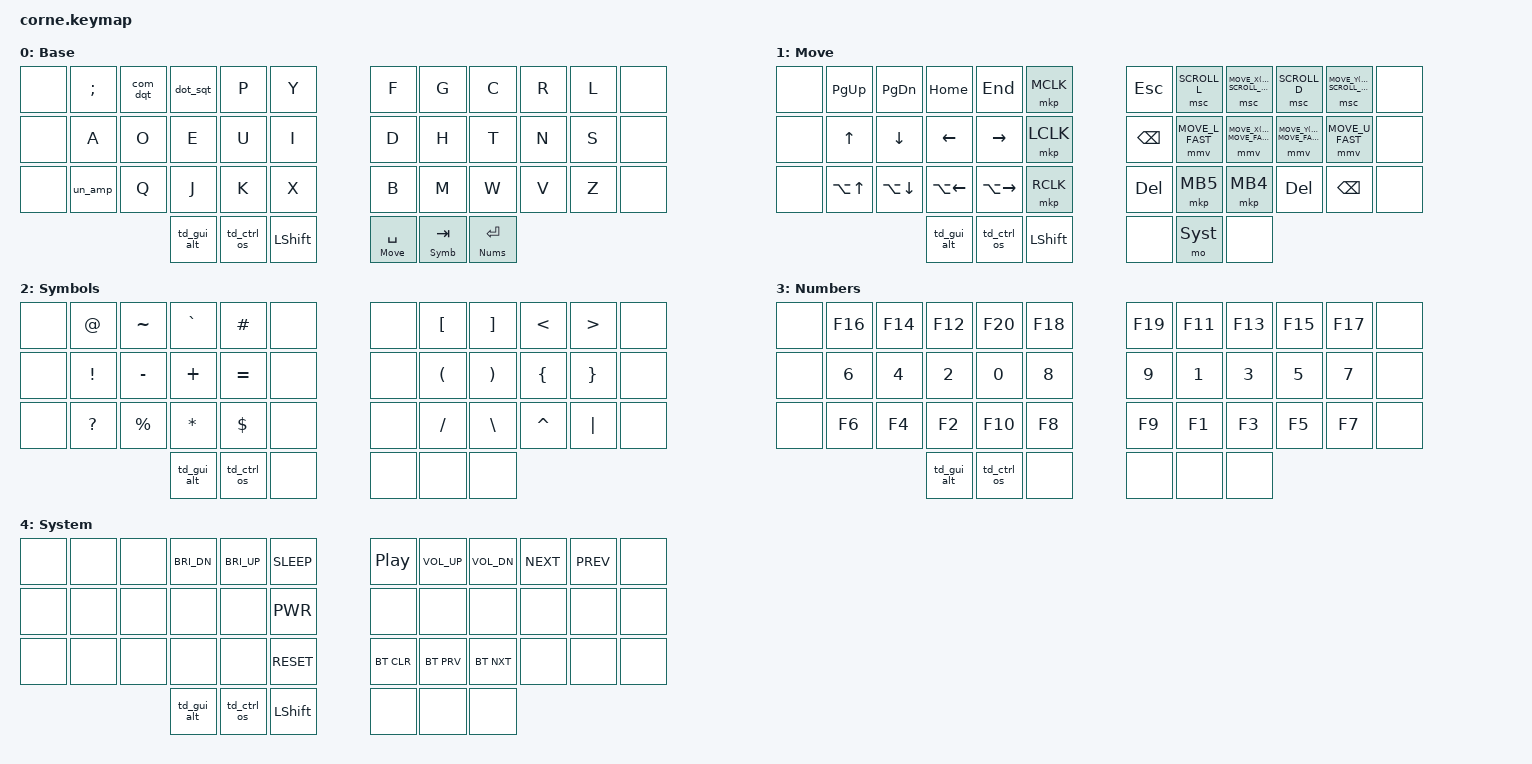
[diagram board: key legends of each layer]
/*
 * Copyright (c) 2020 The ZMK Contributors
 *
 * SPDX-License-Identifier: MIT
 */

#include <behaviors.dtsi>
#include <dt-bindings/zmk/keys.h>
#include <dt-bindings/zmk/bt.h>
#include <dt-bindings/zmk/mouse.h>

#define U_MOUSE_MOVE_FAST_MAX 1000

#define MOVE_U_FAST MOVE_Y(-U_MOUSE_MOVE_FAST_MAX)
#define MOVE_D_FAST MOVE_Y(U_MOUSE_MOVE_FAST_MAX)
#define MOVE_L_FAST MOVE_X(-U_MOUSE_MOVE_FAST_MAX)
#define MOVE_R_FAST MOVE_X(U_MOUSE_MOVE_FAST_MAX)

#define U_MOUSE_MOVE_SLOW_MAX 250

#define MOVE_U_SLOW MOVE_Y(-U_MOUSE_MOVE_SLOW_MAX)
#define MOVE_D_SLOW MOVE_Y(U_MOUSE_MOVE_SLOW_MAX)
#define MOVE_L_SLOW MOVE_X(-U_MOUSE_MOVE_SLOW_MAX)
#define MOVE_R_SLOW MOVE_X(U_MOUSE_MOVE_SLOW_MAX)

#define U_MOUSE_SCROLL_FAST 20

#define SCROLL_U MOVE_Y(U_MOUSE_SCROLL_FAST)
#define SCROLL_D MOVE_Y(-U_MOUSE_SCROLL_FAST)
#define SCROLL_L MOVE_X(-U_MOUSE_SCROLL_FAST)
#define SCROLL_R MOVE_X(U_MOUSE_SCROLL_FAST)

#define Base 0
#define Move 1
#define Symb 2
#define Nums 3
#define Syst 4

// | 1  | 2  | 3  | 4  | 5  |     | 6  | 7  | 8  | 9  | 10 |
// | 13 | 14 | 15 | 16 | 17 |     | 18 | 19 | 20 | 21 | 22 |
// | 25 | 26 | 27 | 28 | 29 |     | 30 | 31 | 32 | 33 | 34 |
//           | 36 | 37 | 38 |     | 39 | 40 | 41 |

// ----------------       ----------------
// |  |  |  |  |  |       |  |  |  |  |  |
// |  |  |  |  |  |       |  |  |  |  |  |
// |  |  |  |  |  |       |  |  |  |  |  |
// ------|  |  |  |       |  |  |  |------
//       ----------       ----------
// &none &none &none &none &none &none       &none &none &none &none &none &none
// &none &none &none &none &none &none       &none &none &none &none &none &none
// &none &none &none &none &none &none       &none &none &none &none &none &none
//                   &none &none &none       &none &none &none

/ {
    behaviors {
        un_amp: underscore_ampersand {
            compatible = "zmk,behavior-mod-morph";
            label = "UNDERSCORE_AMPERSAND";
            #binding-cells = <0>;
            bindings = <&kp UNDER>, <&kp AMPS>;
            mods = <(MOD_LSFT)>;
        };

        dot_sqt: dot_single_quote {
            compatible = "zmk,behavior-mod-morph";
            label = "DOT_SINGLE_QUOTE";
            #binding-cells = <0>;
            bindings = <&kp DOT>, <&kp SQT>;
            mods = <(MOD_LSFT)>;
        };

        com_dqt: comma_double_quote {
            compatible = "zmk,behavior-mod-morph";
            label = "COMMA_DOUBLE_QUOTE";
            #binding-cells = <0>;
            bindings = <&kp COMMA>, <&kp DQT>;
            mods = <(MOD_LSFT)>;
        };

        td_gui_alt: tap_dance_gui_alt {
            compatible = "zmk,behavior-tap-dance";
            label = "TAP_DANCE_GUI_ALT";
            #binding-cells = <0>;
            tapping-term-ms = <400>;
            bindings = <&kp LGUI>, <&kp LALT>;
        };

        td_ctrl_os: tap_dance_ctrl_os {
            compatible = "zmk,behavior-tap-dance";
            label = "TAP_DANCE_CTRL_OS";
            #binding-cells = <0>;
            tapping-term-ms = <400>;
            bindings = <&kp LCTRL>, <&kp LC(LG(LALT))>;
        };
    };
};

/ {
        keymap {
                compatible = "zmk,keymap";

                default_layer {
                        display-name = "Base";
                        bindings = <
// -------------------------------       -------------------------------
// | ; |  ,  | .    | p    | y   |       |  f  |  g  |  c  |  r  |  l  |
// | a |  o  | e    | u    | i   |       |  d  |  h  |  t  |  n  |  s  |
// | _ |  q  | j    | k    | x   |       |  b  |  m  |  w  |  v  |  z  |
// ----------| ctrl | shft | gui |       | ret | spc | tab |------------
//           ---------------------       -------------------
&none &kp SEMI &com_dqt  &dot_sqt    &kp P       &kp Y              &kp F          &kp G        &kp C        &kp R &kp L &none
&none &kp A    &kp O     &kp E       &kp U       &kp I              &kp D          &kp H        &kp T        &kp N &kp S &none
&none &un_amp  &kp Q     &kp J       &kp K       &kp X              &kp B          &kp M        &kp W        &kp V &kp Z &none
                         &td_gui_alt &td_ctrl_os &kp LSHFT          &lt Move SPACE &lt Symb TAB &lt Nums RET
                        >;
                };

                move_layer {
                        display-name = "Move";
                        bindings = <
// ---------------------------------------------       -----------------------------------------------
// | PgUp | PgDn   | Home   | End     | MClick |       | esc | ScrollL | ScrollR | ScrollD | ScrollR |
// | Up   | Down   | Left   | Right   | LClick |       |     | MoveL   | MoveR   | MoveD   | MoveU   |
// | A+Up | A+Down | A+Left | A+Right | RClick |       |     | Mouse5  | Mouse4  | del     | bspc    |
// ----------------| ctr    | shf     | cmd    |       |     |         |         |--------------------
//                 -----------------------------       ---------------------------
&none &kp PG_UP  &kp PG_DN    &kp HOME     &kp END       &mkp MCLK         &kp ESC  &msc SCROLL_L    &msc SCROLL_R    &msc SCROLL_D    &msc SCROLL_U    &none
&none &kp UP     &kp DOWN     &kp LEFT     &kp RIGHT     &mkp LCLK         &kp BSPC &mmv MOVE_L_FAST &mmv MOVE_R_FAST &mmv MOVE_D_FAST &mmv MOVE_U_FAST &none
&none &kp LA(UP) &kp LA(DOWN) &kp LA(LEFT) &kp LA(RIGHT) &mkp RCLK         &kp DEL  &mkp MB5         &mkp MB4         &kp DEL          &kp BSPC         &none
                              &td_gui_alt  &td_ctrl_os   &kp LSHFT         &none    &mo Syst         &none
                        >;
                };

                symbols_layer {
                        display-name = "Symbols";
                        bindings = <
// --------------------       --------------------
// | @ | ~ | ` | # |  |       |  | [ | ] | < | > |
// | ! | - | + | = |  |       |  | ( | ) | { | } |
// | ? | % | * | $ |  |       |  | / | \ | ^ | | |
// --------|   |   |  |       |  |   |   |--------
//         ------------       ------------
&none &kp AT    &kp TILDE &kp GRAVE   &kp HASH    &none             &none &kp LBKT &kp RBKT &kp LT    &kp GT   &none
&none &kp EXCL  &kp MINUS &kp PLUS    &kp EQUAL   &none             &none &kp LPAR &kp RPAR &kp LBRC  &kp RBRC &none
&none &kp QMARK &kp PRCNT &kp STAR    &kp DLLR    &none             &none &kp FSLH &kp BSLH &kp CARET &kp PIPE &none
                          &td_gui_alt &td_ctrl_os &none             &none &none &none
                        >;
                };

                numbers_layer {
                        display-name = "Numbers";
                        bindings = <
// -------------------------------       -------------------------------
// | F16 | F14 | F12 | F20 | F18 |       | F19 | F11 | F13 | F15 | F17 |
// | 6   | 4   | 2   | 0   | 8   |       | 9   | 1   | 3   | 5   | 7   |
// | F6  | F4  | F2  | F10 | F8  |       | F9  | F1  | F3  | F5  | F7  |
// ------------|     |     |     |       |     |     |     |------------
//             -------------------       -------------------
&none &kp F16 &kp F14 &kp F12     &kp F20     &kp F18           &kp F19 &kp F11 &kp F13 &kp F15 &kp F17 &none
&none &kp N6  &kp N4  &kp N2      &kp N0      &kp N8            &kp N9  &kp N1  &kp N3  &kp N5  &kp N7  &none
&none &kp F6  &kp F4  &kp F2      &kp F10     &kp F8            &kp F9  &kp F1  &kp F3  &kp F5  &kp F7  &none
                      &td_gui_alt &td_ctrl_os &none             &none   &none   &none
                        >;
                };

                system_layer {
                        display-name = "System";
                        bindings = <
// -----------------------------------       ----------------------------------------------
// |  |  | Bright- | Bright+ | Sleep |       | Play/Pause | Vol+   | Vol-   | Next | Prev |
// |  |  |         |         | Power |       |            |        |        |      |      |
// |  |  |         |         | Reset |       | BTClear    | BTPrev | BTNext |      |      |
// ------|         |         |       |       |            |        |        |--------------
//       -----------------------------       --------------------------------
&none &none &none &kp C_BRI_DN &kp C_BRI_UP &kp C_SLEEP       &kp C_PP   &kp C_VOL_UP &kp C_VOL_DN &kp C_NEXT &kp C_PREV &none
&none &none &none &none        &none        &kp C_PWR         &none      &none        &none        &none      &none      &none
&none &none &none &none        &none        &kp C_RESET       &bt BT_CLR &bt BT_PRV   &bt BT_NXT   &none      &none      &none
                  &td_gui_alt  &td_ctrl_os  &kp LSHFT         &none      &none        &none
                        >;
                };
        };
};
